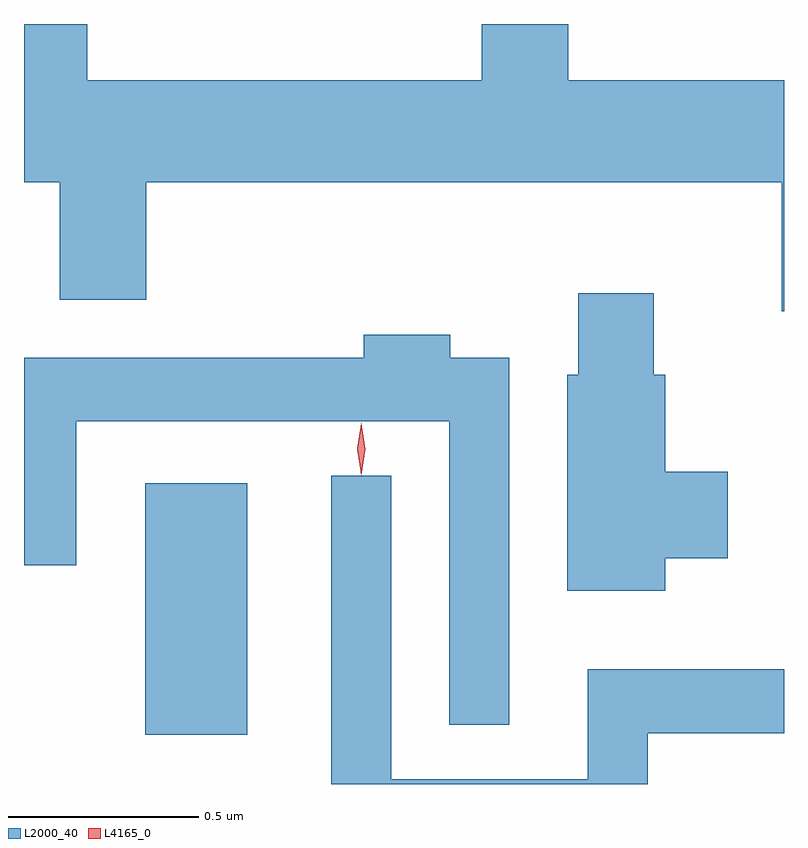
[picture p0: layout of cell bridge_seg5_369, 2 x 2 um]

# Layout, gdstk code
import gdstk
lib = gdstk.Library(unit=1e-6, precision=1e-09)
def R(c, l, rs):  # rectangles x0, y0, x1, y1
    for r in rs: c.add(gdstk.rectangle(r[:2], r[2:], *l))
def P(c, l, *ps):  # polygons
    for p in ps: c.add(gdstk.Polygon(p, *l))
L2000_40 = (2000, 40)
L4165_0 = (4165, 0)

bridge_seg5_369 = lib.new_cell('bridge_seg5_369')
R(bridge_seg5_369, L2000_40, [(776.186,1439.801,776.454,1440.464)])
P(bridge_seg5_369, L2000_40, [(777.867,1441.524),(777.299,1441.524),(777.299,1441.672),(777.071,1441.672),(777.071,1441.524),(776.034,1441.524),(776.034,1441.672),(775.867,1441.672),(775.867,1441.256),(775.961,1441.256),(775.961,1440.946),(776.189,1440.946),(776.189,1441.256),(777.861,1441.256),(777.861,1440.916),(777.867,1440.916)],
  [(777.554,1440.266),(777.719,1440.266),(777.719,1440.494),(777.554,1440.494),(777.554,1440.749),(777.524,1440.749),(777.524,1440.964),(777.326,1440.964),(777.326,1440.749),(777.296,1440.749),(777.296,1440.181),(777.554,1440.181)],
  [(777.144,1440.794),(776.989,1440.794),(776.989,1440.854),(776.761,1440.854),(776.761,1440.794),(775.867,1440.794),(775.867,1440.248),(776.004,1440.248),(776.004,1440.626),(776.986,1440.626),(776.986,1439.828),(777.144,1439.828)],
  [(777.509,1439.806),(777.867,1439.806),(777.867,1439.974),(777.351,1439.974),(777.351,1439.684),(776.834,1439.684),(776.834,1440.483),(776.676,1440.483),(776.676,1439.672),(777.509,1439.672)])
P(bridge_seg5_369, L4165_0, [(776.754,1440.487),(776.754,1440.487),(776.744,1440.554),(776.754,1440.62),(776.754,1440.62),(776.754,1440.62),(776.764,1440.554),(776.755,1440.487)],
  [(776.754,1440.484),(776.745,1440.553),(776.754,1440.622),(776.755,1440.623),(776.755,1440.622),(776.765,1440.553),(776.755,1440.484),(776.755,1440.484)])

lib.write_gds('bridge_seg5_369.gds')
